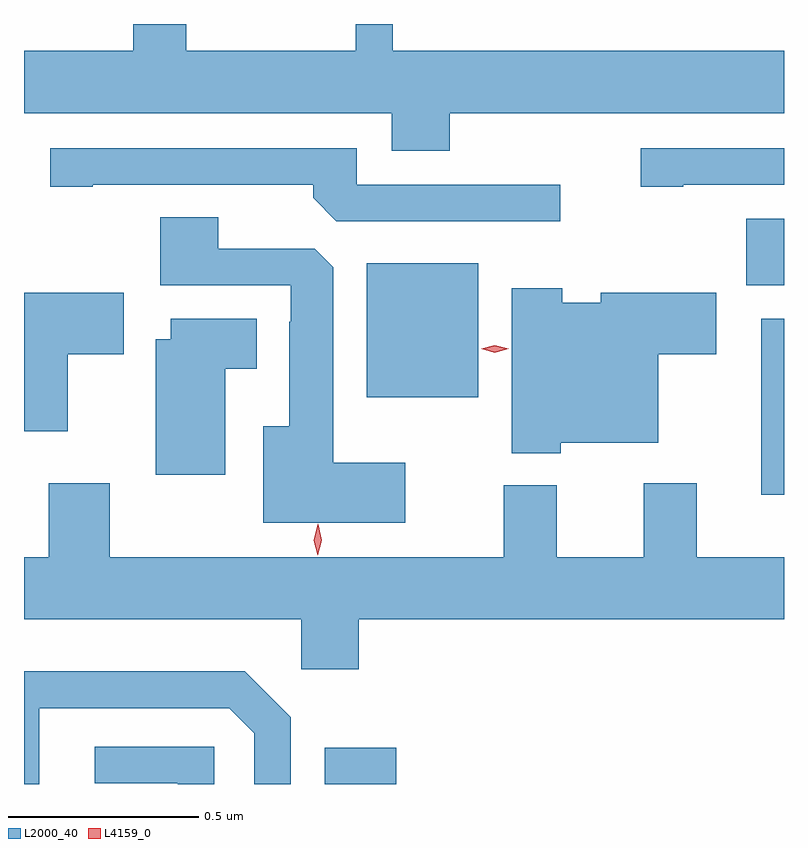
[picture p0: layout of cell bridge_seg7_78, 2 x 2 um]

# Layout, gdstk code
import gdstk
lib = gdstk.Library(unit=1e-6, precision=1e-09)
def R(c, l, rs):  # rectangles x0, y0, x1, y1
    for r in rs: c.add(gdstk.rectangle(r[:2], r[2:], *l))
def P(c, l, *ps):  # polygons
    for p in ps: c.add(gdstk.Polygon(p, *l))
L2000_40 = (2000, 40)
L4159_0 = (4159, 0)

bridge_seg7_78 = lib.new_cell('bridge_seg7_78')
R(bridge_seg7_78, L2000_40, [(1083.05,1036.147,1083.238,1036.243), (1084.199,1036.908,1084.259,1037.371), (1083.161,1037.165,1083.454,1037.518), (1084.16,1037.459,1084.259,1037.635)])
P(bridge_seg7_78, L2000_40, [(1082.547,1038.147),(1082.547,1038.076),(1082.259,1038.076),(1082.259,1037.912),(1083.227,1037.912),(1083.227,1037.813),(1083.38,1037.813),(1083.38,1037.912),(1084.259,1037.912),(1084.259,1038.076),(1083.229,1038.076),(1083.229,1038.147),(1083.132,1038.147),(1083.132,1038.076),(1082.686,1038.076),(1082.686,1038.147)],
  [(1083.994,1037.724),(1084.259,1037.724),(1084.259,1037.82),(1083.882,1037.82),(1083.882,1037.719),(1083.994,1037.719)],
  [(1083.67,1037.724),(1083.135,1037.724),(1083.135,1037.82),(1082.328,1037.82),(1082.328,1037.719),(1082.44,1037.719),(1082.44,1037.724),(1083.02,1037.724),(1083.02,1037.69),(1083.081,1037.628),(1083.67,1037.628)],
  [(1083.262,1036.993),(1083.073,1036.993),(1083.073,1037.507),(1083.024,1037.556),(1082.77,1037.556),(1082.77,1037.639),(1082.618,1037.639),(1082.618,1037.46),(1082.961,1037.46),(1082.961,1037.363),(1082.957,1037.363),(1082.957,1037.089),(1082.888,1037.089),(1082.888,1036.835),(1083.262,1036.835)],
  [(1083.672,1037.045),(1083.928,1037.045),(1083.928,1037.278),(1084.081,1037.278),(1084.081,1037.44),(1083.777,1037.44),(1083.777,1037.413),(1083.676,1037.413),(1083.676,1037.452),(1083.542,1037.452),(1083.542,1037.018),(1083.672,1037.018)],
  [(1082.374,1037.278),(1082.521,1037.278),(1082.521,1037.44),(1082.259,1037.44),(1082.259,1037.075),(1082.374,1037.075)],
  [(1082.788,1037.24),(1082.872,1037.24),(1082.872,1037.371),(1082.645,1037.371),(1082.645,1037.317),(1082.606,1037.317),(1082.606,1036.961),(1082.788,1036.961)],
  [(1083.14,1036.58),(1084.259,1036.58),(1084.259,1036.744),(1084.03,1036.744),(1084.03,1036.939),(1083.89,1036.939),(1083.89,1036.744),(1083.661,1036.744),(1083.661,1036.933),(1083.521,1036.933),(1083.521,1036.744),(1082.484,1036.744),(1082.484,1036.939),(1082.324,1036.939),(1082.324,1036.744),(1082.259,1036.744),(1082.259,1036.58),(1082.988,1036.58),(1082.988,1036.449),(1083.14,1036.449)],
  [(1082.299,1036.347),(1082.799,1036.347),(1082.865,1036.281),(1082.865,1036.147),(1082.961,1036.147),(1082.961,1036.323),(1082.84,1036.444),(1082.259,1036.444),(1082.259,1036.147),(1082.299,1036.147)],
  [(1082.76,1036.245),(1082.445,1036.245),(1082.445,1036.149),(1082.664,1036.149),(1082.664,1036.147),(1082.76,1036.147)])
P(bridge_seg7_78, L4159_0, [(1083.498,1037.282),(1083.462,1037.292),(1083.461,1037.293),(1083.462,1037.293),(1083.498,1037.302),(1083.535,1037.293),(1083.535,1037.292),(1083.535,1037.292)],
  [(1083.032,1036.749),(1083.032,1036.749),(1083.022,1036.789),(1083.032,1036.83),(1083.032,1036.83),(1083.033,1036.83),(1083.042,1036.789),(1083.032,1036.749)])

lib.write_gds('bridge_seg7_78.gds')
